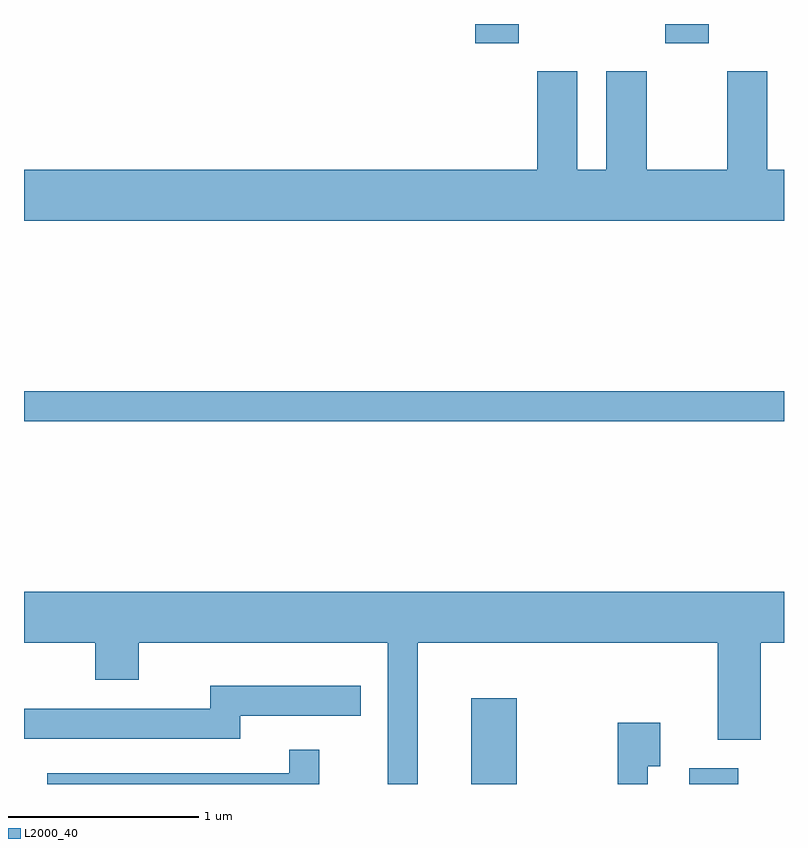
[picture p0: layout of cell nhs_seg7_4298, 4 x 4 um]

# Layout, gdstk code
import gdstk
lib = gdstk.Library(unit=1e-6, precision=1e-09)
def R(c, l, rs):  # rectangles x0, y0, x1, y1
    for r in rs: c.add(gdstk.rectangle(r[:2], r[2:], *l))
def P(c, l, *ps):  # polygons
    for p in ps: c.add(gdstk.Polygon(p, *l))
L2000_40 = (2000, 40)

nhs_seg7_4298 = lib.new_cell('nhs_seg7_4298')
R(nhs_seg7_4298, L2000_40, [(319.966,1700.252,320.204,1700.704), (321.111,1700.252,321.369,1700.334), (317.611,1702.161,321.611,1702.319), (319.986,1704.151,320.214,1704.252), (320.986,1704.151,321.214,1704.252)])
P(nhs_seg7_4298, L2000_40, [(321.611,1703.484),(321.524,1703.484),(321.524,1704.004),(321.311,1704.004),(321.311,1703.484),(320.889,1703.484),(320.889,1704.004),(320.676,1704.004),(320.676,1703.484),(320.524,1703.484),(320.524,1704.004),(320.311,1704.004),(320.311,1703.484),(317.611,1703.484),(317.611,1703.216),(321.611,1703.216)],
  [(319.684,1700.996),(321.261,1700.996),(321.261,1700.486),(321.489,1700.486),(321.489,1700.996),(321.611,1700.996),(321.611,1701.264),(317.611,1701.264),(317.611,1700.996),(317.986,1700.996),(317.986,1700.801),(318.214,1700.801),(318.214,1700.996),(319.526,1700.996),(319.526,1700.252),(319.684,1700.252)],
  [(318.749,1700.611),(319.383,1700.611),(319.383,1700.769),(318.591,1700.769),(318.591,1700.649),(317.611,1700.649),(317.611,1700.491),(318.749,1700.491)],
  [(320.894,1700.346),(320.959,1700.346),(320.959,1700.574),(320.736,1700.574),(320.736,1700.252),(320.894,1700.252)],
  [(319.164,1700.433),(319.006,1700.433),(319.006,1700.309),(317.733,1700.309),(317.733,1700.252),(319.164,1700.252)])

lib.write_gds('nhs_seg7_4298.gds')
